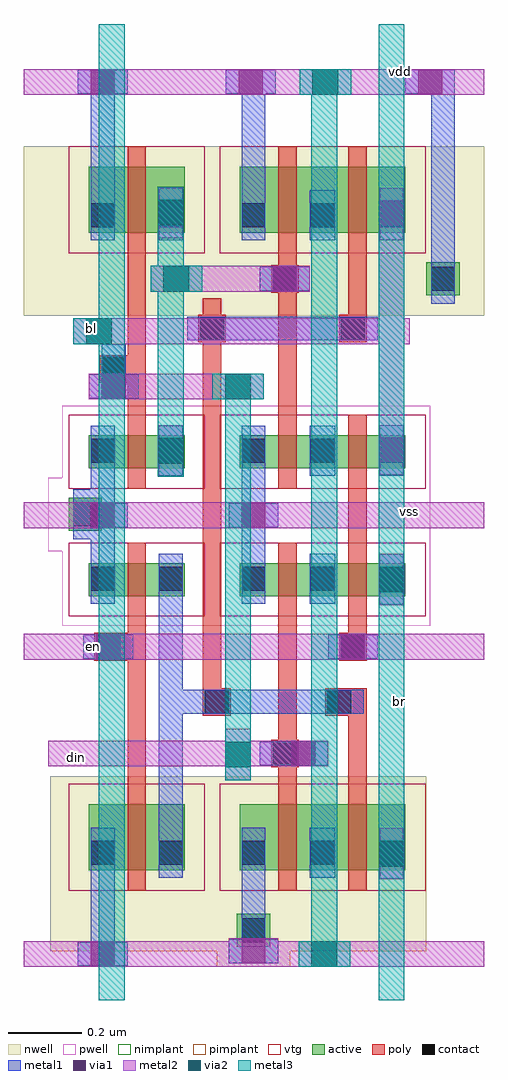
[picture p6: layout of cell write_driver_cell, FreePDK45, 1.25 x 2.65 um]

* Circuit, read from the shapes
.subckt write_driver_cell bl br din en vdd vss
M1 n1 en vss vss nfet w=0.09u l=0.05u
M2 n2 din vss vss nfet w=0.09u l=0.05u
M3 n3 din vss vss nfet w=0.09u l=0.05u
M4 n4 n2 vss vss nfet w=0.09u l=0.05u
M5 br en n3 vss nfet w=0.09u l=0.05u
M6 bl en n4 vss nfet w=0.09u l=0.05u
M7 n1 en vdd vdd pfet w=0.18u l=0.05u
M8 n2 din vdd vdd pfet w=0.18u l=0.05u
M9 n5 din vdd vdd pfet w=0.18u l=0.05u
M10 n6 n2 vdd vdd pfet w=0.18u l=0.05u
M11 br n1 n5 vdd pfet w=0.18u l=0.05u
M12 bl n1 n6 vdd pfet w=0.18u l=0.05u
.ends

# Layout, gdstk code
from math import pi, radians
import gdstk
lib = gdstk.Library(unit=1e-6, precision=5e-10)
def R(c, l, rs):  # rectangles x0, y0, x1, y1
    for r in rs: c.add(gdstk.rectangle(r[:2], r[2:], *l))
active = (1, 0)
pwell = (2, 0)
nwell = (3, 0)
nimplant = (4, 0)
pimplant = (5, 0)
vtg = (6, 0)
poly = (9, 0)
contact = (10, 0)
metal1 = (11, 0)
via1 = (12, 0)
metal2 = (13, 0)
via2 = (14, 0)
metal3 = (15, 0)

dcont_25 = lib.new_cell('dcont_25')
R(dcont_25, active, [(-0.0375,0.03,0.0375,0.105)])
R(dcont_25, contact, [(-0.0325,0.035,0.0325,0.1)])
R(dcont_25, metal1, [(-0.0325,0,0.0325,0.135)])

nmos_vtg_6 = lib.new_cell('nmos_vtg_6')
R(nmos_vtg_6, active, [(-0.105,0,0.155,0.09), (-0.105,0,-0.03,0.09), (0.08,0,0.155,0.09), (-0.105,0.01,-0.03,0.085), (0.08,0.01,0.155,0.085)])
R(nmos_vtg_6, pwell, [(-0.16,-0.055,0.21,0.145)])
R(nmos_vtg_6, nimplant, [(-0.105,0,0.155,0.09)])
R(nmos_vtg_6, vtg, [(-0.16,-0.055,0.21,0.145)])
R(nmos_vtg_6, poly, [(0,-0.055,0.05,0), (0,-0.055,0.05,0.145), (0,0.09,0.05,0.145)])
nmos_vtg_6.add(gdstk.Reference(dcont_25, (0.1175,-0.02)))
nmos_vtg_6.add(gdstk.Reference(dcont_25, (-0.0675,-0.02)))
nmos_vtg_6.add(gdstk.Label('l = 0.05', (0.06,0.045), layer=239, texttype=0))
nmos_vtg_6.add(gdstk.Label('w = 0.09', (0.025,0.155), layer=239, texttype=0))

m2_m1_viac = lib.new_cell('M2_M1_viaC')
R(m2_m1_viac, metal1, [(-0.0325,-0.0675,0.0325,0.0675)])
R(m2_m1_viac, via1, [(-0.0325,-0.0325,0.0325,0.0325)])
R(m2_m1_viac, metal2, [(-0.035,-0.0675,0.035,0.0675)])

pmos_vtg_7 = lib.new_cell('pmos_vtg_7')
R(pmos_vtg_7, active, [(-0.105,0,0.155,0.18), (-0.105,0,-0.03,0.18), (0.08,0,0.155,0.18), (-0.105,0.01,-0.03,0.085), (0.08,0.01,0.155,0.085)])
R(pmos_vtg_7, nwell, [(-0.16,-0.055,0.21,0.235)])
R(pmos_vtg_7, pimplant, [(-0.105,0,0.155,0.18)])
R(pmos_vtg_7, vtg, [(-0.16,-0.055,0.21,0.235)])
R(pmos_vtg_7, poly, [(0,-0.055,0.05,0), (0,-0.055,0.05,0.235), (0,0.18,0.05,0.235)])
pmos_vtg_7.add(gdstk.Reference(dcont_25, (0.1175,-0.02)))
pmos_vtg_7.add(gdstk.Reference(dcont_25, (-0.0675,-0.02)))
pmos_vtg_7.add(gdstk.Label('l = 0.05', (0.06,0.09), layer=239, texttype=0))
pmos_vtg_7.add(gdstk.Label('w = 0.18', (0.025,0.245), layer=239, texttype=0))

m3_m2_viab = lib.new_cell('M3_M2_viaB')
R(m3_m2_viab, metal2, [(-0.035,-0.07,0.035,0.07)])
R(m3_m2_viab, via2, [(-0.035,-0.035,0.035,0.035)])
R(m3_m2_viab, metal3, [(-0.035,-0.07,0.035,0.07)])

pcont_2 = lib.new_cell('pcont_2')
R(pcont_2, poly, [(-0.0375,-0.0375,0.0375,0.0375)])
R(pcont_2, contact, [(-0.0325,-0.0325,0.0325,0.0325)])
R(pcont_2, metal1, [(-0.0325,-0.0675,0.0325,0.0675)])

m2_m1_viab = lib.new_cell('M2_M1_viaB')
R(m2_m1_viab, metal1, [(-0.0675,-0.0325,0.0675,0.0325)])
R(m2_m1_viab, via1, [(-0.0325,-0.0325,0.0325,0.0325)])
R(m2_m1_viab, metal2, [(-0.0675,-0.035,0.0675,0.035)])

m3_m2_viac = lib.new_cell('M3_M2_viaC')
R(m3_m2_viac, metal2, [(-0.07,-0.035,0.07,0.035)])
R(m3_m2_viac, via2, [(-0.035,-0.035,0.035,0.035)])
R(m3_m2_viac, metal3, [(-0.07,-0.035,0.07,0.035)])

pmos_vtg_21 = lib.new_cell('pmos_vtg_21')
R(pmos_vtg_21, active, [(-0.105,0,0.155,0.18), (-0.105,0,-0.03,0.18), (0.08,0,0.155,0.18), (-0.105,0.01,-0.03,0.085), (0.08,0.01,0.155,0.085)])
R(pmos_vtg_21, nwell, [(-0.16,-0.055,0.21,0.235)])
R(pmos_vtg_21, pimplant, [(-0.105,0,0.155,0.18)])
R(pmos_vtg_21, vtg, [(-0.16,-0.055,0.21,0.235)])
R(pmos_vtg_21, poly, [(0,-0.055,0.05,0), (0,-0.055,0.05,0.235), (0,0.18,0.05,0.235)])
pmos_vtg_21.add(gdstk.Reference(dcont_25, (0.1175,-0.02)))
pmos_vtg_21.add(gdstk.Reference(dcont_25, (-0.0675,-0.02)))
pmos_vtg_21.add(gdstk.Label('l = 0.05', (0.06,0.09), layer=239, texttype=0))
pmos_vtg_21.add(gdstk.Label('w = 0.18', (0.025,0.245), layer=239, texttype=0))

ntap_1 = lib.new_cell('NTAP_1')
R(ntap_1, active, [(-0.045,-0.045,0.045,0.045)])
R(ntap_1, nwell, [(-0.1,-0.1,0.1,0.1)])
R(ntap_1, nimplant, [(-0.045,-0.045,0.045,0.045)])
R(ntap_1, contact, [(-0.0325,-0.0325,0.0325,0.0325)])
R(ntap_1, metal1, [(-0.0325,-0.0675,0.0325,0.0675)])

ptap_0 = lib.new_cell('PTAP_0')
R(ptap_0, active, [(-0.045,-0.045,0.045,0.045)])
R(ptap_0, pwell, [(-0.1,-0.1,0.1,0.1)])
R(ptap_0, pimplant, [(-0.045,-0.045,0.045,0.045)])
R(ptap_0, contact, [(-0.0325,-0.0325,0.0325,0.0325)])
R(ptap_0, metal1, [(-0.0325,-0.0675,0.0325,0.0675)])

write_driver_cell = lib.new_cell('write_driver_cell')
R(write_driver_cell, pwell, [(0.105,1.0175,1.105,1.615)])
R(write_driver_cell, nwell, [(0.0725,0.1325,1.095,0.6075), (0,1.86,1.2525,2.32)])
R(write_driver_cell, poly, [(0.2825,0.5725,0.3325,1.045), (0.6925,0.5775,0.7425,1.045), (0.8825,0.5875,0.9325,0.8475), (0.4875,0.825,0.5375,1.9075), (0.2675,0.9225,0.2825,0.9975), (0.8825,0.9975,0.9325,1.0475), (0.8825,1.2275,0.9325,1.39), (0.2825,1.59,0.3325,2.03), (0.6925,1.59,0.7425,1.9225), (0.8825,1.8425,0.9325,2.03), (0.6925,1.9925,0.7425,2.03)])
R(write_driver_cell, metal1, [(0.1825,0.135,0.2475,0.3325), (0.5925,0.1775,0.6575,0.3675), (0.3675,0.4325,0.4325,1.085), (0.3675,0.7775,0.79,0.8425), (0.5925,1.2025,0.6575,1.3525), (0.1825,1.2125,0.2475,1.37), (0.1825,1.3,0.2475,1.43), (0.5925,1.3,0.6575,1.43), (0.5775,1.7925,0.8375,1.8575), (1.1075,2.015,1.1725,2.4975), (0.1825,2.2,0.2475,2.4975), (0.5925,2.2,0.6575,2.265), (0.5925,2.2,0.6575,2.4975)])
R(write_driver_cell, metal2, [(0,0.09,1.2525,0.16), (0.0675,0.635,0.7025,0.705), (0,0.925,1.2525,0.995), (0,1.2825,1.2525,1.3525), (0.965,1.4725,1.035,2.175), (0.21,1.6325,0.6175,1.7025), (0.205,1.7825,1.05,1.8525), (0.3675,1.925,0.7025,1.995), (0,2.46,1.2525,2.53)])
R(write_driver_cell, metal3, [(0.205,0,0.275,2.6525), (0.965,0,1.035,2.6525), (0.7825,0.0925,0.8525,2.53), (0.5475,0.6875,0.6175,1.6475), (0.365,1.43,0.435,2.1775)])
write_driver_cell.add(gdstk.Reference(nmos_vtg_6, (0.8825,1.0975)))
write_driver_cell.add(gdstk.Reference(nmos_vtg_6, (0.6925,1.0975)))
write_driver_cell.add(gdstk.Reference(nmos_vtg_6, (0.2825,1.445)))
write_driver_cell.add(gdstk.Reference(nmos_vtg_6, (0.2825,1.0975)))
write_driver_cell.add(gdstk.Reference(nmos_vtg_6, (0.6925,1.445)))
write_driver_cell.add(gdstk.Reference(nmos_vtg_6, (0.8825,1.445)))
write_driver_cell.add(gdstk.Reference(m2_m1_viac, (0.4,2.14)))
write_driver_cell.add(gdstk.Reference(m2_m1_viac, (1,2.14)))
write_driver_cell.add(gdstk.Reference(m2_m1_viac, (1,1.495)))
write_driver_cell.add(gdstk.Reference(m2_m1_viac, (1,0.3975)))
write_driver_cell.add(gdstk.Reference(m2_m1_viac, (1,1.1425)))
write_driver_cell.add(gdstk.Reference(m2_m1_viac, (0.4,1.4925)))
write_driver_cell.add(gdstk.Reference(pmos_vtg_7, (0.2825,0.3525)))
write_driver_cell.add(gdstk.Reference(pmos_vtg_7, (0.6925,0.3525)))
write_driver_cell.add(gdstk.Reference(pmos_vtg_7, (0.8825,0.3525)))
write_driver_cell.add(gdstk.Reference(pmos_vtg_7, (0.2825,2.085)))
write_driver_cell.add(gdstk.Reference(pmos_vtg_7, (0.8825,2.085)))
write_driver_cell.add(gdstk.Reference(m3_m2_viab, (0.205,1.8175), rotation=pi/2))
write_driver_cell.add(gdstk.Reference(m3_m2_viab, (0.4,2.14)))
write_driver_cell.add(gdstk.Reference(m3_m2_viab, (1,0.3975)))
write_driver_cell.add(gdstk.Reference(m3_m2_viab, (1,1.1425)))
write_driver_cell.add(gdstk.Reference(m3_m2_viab, (0.4,1.4925)))
write_driver_cell.add(gdstk.Reference(m3_m2_viab, (0.5825,0.6675)))
write_driver_cell.add(gdstk.Reference(m3_m2_viab, (0.5825,1.6675), rotation=pi/2))
write_driver_cell.add(gdstk.Reference(pcont_2, (0.71,0.67), rotation=pi/2))
write_driver_cell.add(gdstk.Reference(pcont_2, (0.8575,0.81), rotation=pi/2))
write_driver_cell.add(gdstk.Reference(pcont_2, (0.525,0.81), rotation=pi/2))
write_driver_cell.add(gdstk.Reference(pcont_2, (0.895,0.96), rotation=pi/2))
write_driver_cell.add(gdstk.Reference(pcont_2, (0.895,1.825), rotation=pi/2))
write_driver_cell.add(gdstk.Reference(pcont_2, (0.5125,1.825), rotation=pi/2))
write_driver_cell.add(gdstk.Reference(pcont_2, (0.245,1.715)))
write_driver_cell.add(gdstk.Reference(pcont_2, (0.23,0.96), rotation=pi/2))
write_driver_cell.add(gdstk.Reference(pcont_2, (0.71,1.96), rotation=pi/2))
write_driver_cell.add(gdstk.Reference(m2_m1_viab, (0.6175,2.495)))
write_driver_cell.add(gdstk.Reference(m2_m1_viab, (0.625,0.1325)))
write_driver_cell.add(gdstk.Reference(m2_m1_viab, (0.215,0.125)))
write_driver_cell.add(gdstk.Reference(m2_m1_viab, (0.76,0.67)))
write_driver_cell.add(gdstk.Reference(m2_m1_viab, (0.895,0.96)))
write_driver_cell.add(gdstk.Reference(m2_m1_viab, (1.105,2.495)))
write_driver_cell.add(gdstk.Reference(m2_m1_viab, (0.23,0.96)))
write_driver_cell.add(gdstk.Reference(m2_m1_viab, (0.71,1.96)))
write_driver_cell.add(gdstk.Reference(m2_m1_viab, (0.215,2.495)))
write_driver_cell.add(gdstk.Reference(m2_m1_viab, (0.625,1.3175)))
write_driver_cell.add(gdstk.Reference(m2_m1_viab, (0.245,1.6675)))
write_driver_cell.add(gdstk.Reference(m2_m1_viab, (0.215,1.3175)))
write_driver_cell.add(gdstk.Reference(m3_m2_viac, (0.415,1.96)))
write_driver_cell.add(gdstk.Reference(m3_m2_viac, (0.8175,0.125)))
write_driver_cell.add(gdstk.Reference(m3_m2_viac, (0.82,2.495)))
write_driver_cell.add(gdstk.Reference(pmos_vtg_21, (0.6925,2.085)))
write_driver_cell.add(gdstk.Reference(ntap_1, (0.625,0.19)))
write_driver_cell.add(gdstk.Reference(ntap_1, (1.14,1.96)))
write_driver_cell.add(gdstk.Reference(ptap_0, (0.1675,1.32)))
write_driver_cell.add(gdstk.Label('en', (0.19,0.96), layer=13, texttype=0))
write_driver_cell.add(gdstk.Label('din', (0.1425,0.66), layer=13, texttype=0))
write_driver_cell.add(gdstk.Label('vss', (1.0475,1.3275), layer=13, texttype=0))
write_driver_cell.add(gdstk.Label('vdd', (1.025,2.5225), layer=13, texttype=0))
write_driver_cell.add(gdstk.Label('br', (1.0225,0.8125), layer=15, texttype=0))
write_driver_cell.add(gdstk.Label('bl', (0.185,1.825), layer=15, texttype=0))

lib.write_gds('write_driver_cell.gds')
